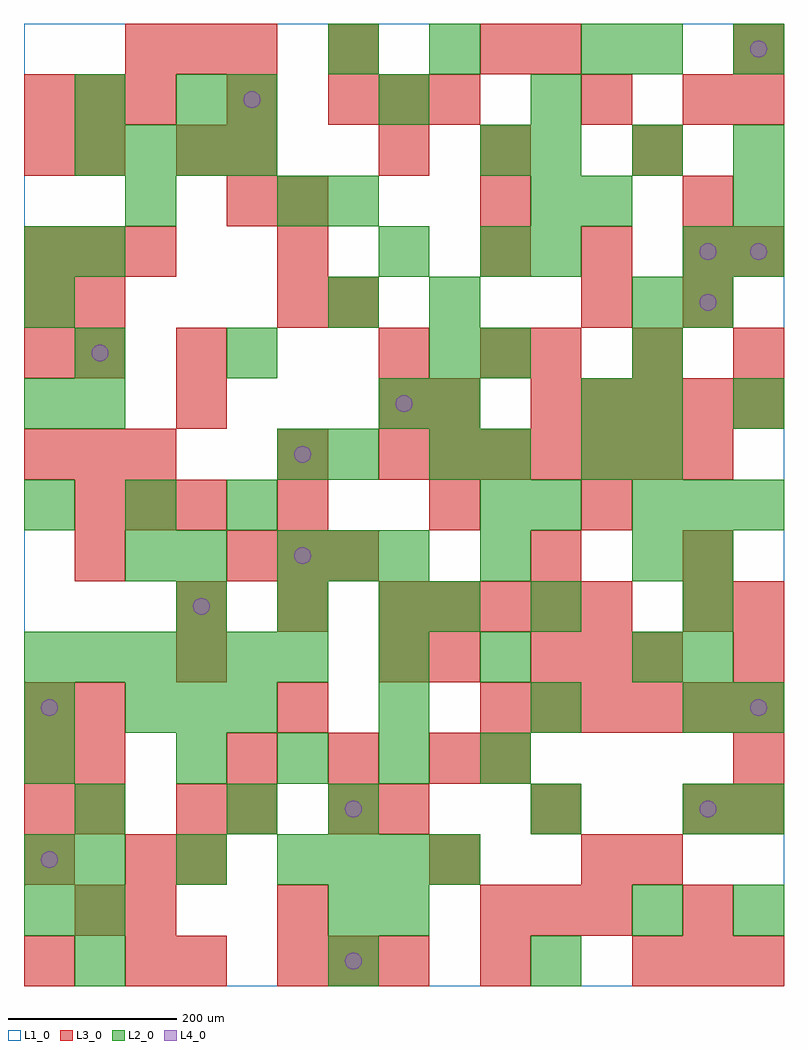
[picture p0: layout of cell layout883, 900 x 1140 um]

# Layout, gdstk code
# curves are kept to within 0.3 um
import gdstk
lib = gdstk.Library(unit=1e-6, precision=1e-09)
def R(c, l, rs):  # rectangles x0, y0, x1, y1
    for r in rs: c.add(gdstk.rectangle(r[:2], r[2:], *l))
def A(c, l, x, y, w, h, nx, ny, dx, dy):  # array of equal rectangles
    R(c, l, [(x+i*dx, y+j*dy, x+i*dx+w, y+j*dy+h) for i in range(nx) for j in range(ny)])
def P(c, l, *ps):  # polygons
    for p in ps: c.add(gdstk.Polygon(p, *l))
L1_0 = (1, 0)
L2_0 = (2, 0)
L3_0 = (3, 0)
L4_0 = (4, 0)

layout883 = lib.new_cell('layout883')
R(layout883, L1_0, [(0,0,900,1140)])
A(layout883, L2_0, 420, 60, 60, 60, 1, 3, 0, 300)
A(layout883, L2_0, 840, 60, 60, 60, 1, 3, 0, 120)
A(layout883, L2_0, 60, 120, 60, 60, 3, 1, 120, 0)
A(layout883, L2_0, 360, 120, 60, 60, 3, 1, 60, 0)
A(layout883, L2_0, 180, 240, 60, 60, 4, 1, 120, 0)
A(layout883, L2_0, 120, 300, 60, 60, 3, 1, 60, 0)
A(layout883, L2_0, 420, 300, 60, 60, 3, 1, 180, 0)
A(layout883, L2_0, 0, 360, 60, 60, 6, 1, 60, 0)
A(layout883, L2_0, 720, 360, 60, 60, 1, 3, 0, 120)
A(layout883, L2_0, 780, 360, 60, 60, 1, 3, 0, 60)
A(layout883, L2_0, 180, 420, 60, 60, 3, 1, 120, 0)
A(layout883, L2_0, 300, 480, 60, 60, 3, 1, 60, 0)
A(layout883, L2_0, 540, 480, 60, 60, 1, 3, 0, 60)
A(layout883, L2_0, 0, 540, 60, 60, 3, 1, 120, 0)
A(layout883, L2_0, 720, 540, 60, 60, 3, 1, 60, 0)
A(layout883, L2_0, 480, 600, 60, 60, 1, 4, 0, 60)
A(layout883, L2_0, 720, 660, 60, 60, 1, 3, 0, 60)
A(layout883, L2_0, 540, 720, 60, 60, 1, 3, 0, 120)
A(layout883, L2_0, 60, 960, 60, 60, 4, 1, 60, 0)
A(layout883, L2_0, 600, 960, 60, 60, 3, 1, 120, 0)
A(layout883, L2_0, 240, 1020, 60, 60, 3, 1, 180, 0)
R(layout883, L2_0, [(60,0,120,60), (360,0,420,60), (600,0,660,60), (0,60,60,120), (60,60,120,120), (360,60,420,120), (720,60,780,120), (0,120,60,180), (60,180,120,240), (240,180,300,240), (360,180,420,240), (600,180,660,240), (780,180,840,240), (0,240,60,300), (0,300,60,360), (540,360,600,420), (480,420,540,480), (600,420,660,480), (120,480,180,540), (180,480,240,540), (600,540,660,600), (300,600,360,660), (360,600,420,660), (660,600,720,660), (0,660,60,720), (60,660,120,720), (660,660,720,720), (840,660,900,720), (60,720,120,780), (240,720,300,780), (0,780,60,840), (360,780,420,840), (780,780,840,840), (0,840,60,900), (60,840,120,900), (420,840,480,900), (600,840,660,900), (780,840,840,900), (840,840,900,900), (120,900,180,960), (300,900,360,960), (360,900,420,960), (600,900,660,960), (660,900,720,960), (840,900,900,960), (60,1020,120,1080), (180,1020,240,1080), (360,1080,420,1140), (480,1080,540,1140), (660,1080,720,1140), (720,1080,780,1140), (840,1080,900,1140)])
A(layout883, L3_0, 120, 0, 60, 60, 1, 3, 0, 60)
A(layout883, L3_0, 300, 0, 60, 60, 3, 1, 60, 0)
A(layout883, L3_0, 720, 0, 60, 60, 3, 1, 60, 0)
A(layout883, L3_0, 540, 60, 60, 60, 3, 1, 60, 0)
A(layout883, L3_0, 0, 120, 60, 60, 1, 4, 0, 60)
A(layout883, L3_0, 420, 180, 60, 60, 3, 1, 180, 0)
A(layout883, L3_0, 60, 240, 60, 60, 1, 3, 0, 240)
A(layout883, L3_0, 240, 240, 60, 60, 3, 1, 120, 0)
A(layout883, L3_0, 60, 300, 60, 60, 3, 1, 240, 0)
A(layout883, L3_0, 600, 300, 60, 60, 5, 2, 60, 360)
A(layout883, L3_0, 600, 360, 60, 60, 3, 1, 60, 0)
A(layout883, L3_0, 180, 420, 60, 60, 3, 1, 120, 0)
A(layout883, L3_0, 480, 420, 60, 60, 4, 1, 60, 0)
A(layout883, L3_0, 240, 480, 60, 60, 3, 1, 60, 0)
A(layout883, L3_0, 60, 540, 60, 60, 3, 1, 60, 0)
A(layout883, L3_0, 300, 540, 60, 60, 3, 1, 180, 0)
A(layout883, L3_0, 0, 600, 60, 60, 3, 2, 60, 240)
A(layout883, L3_0, 420, 600, 60, 60, 7, 1, 60, 0)
A(layout883, L3_0, 600, 720, 60, 60, 3, 1, 120, 0)
A(layout883, L3_0, 540, 840, 60, 60, 3, 1, 120, 0)
A(layout883, L3_0, 240, 900, 60, 60, 1, 3, 0, 60)
A(layout883, L3_0, 300, 900, 60, 60, 3, 1, 240, 0)
A(layout883, L3_0, 0, 1020, 60, 60, 3, 1, 60, 0)
A(layout883, L3_0, 360, 1020, 60, 60, 3, 1, 60, 0)
A(layout883, L3_0, 120, 1080, 60, 60, 3, 1, 60, 0)
R(layout883, L3_0, [(0,0,60,60), (180,0,240,60), (540,0,600,60), (60,60,120,120), (300,60,360,120), (780,60,840,120), (180,120,240,180), (480,120,540,180), (660,120,720,180), (720,120,780,180), (60,180,120,240), (180,180,240,240), (240,180,300,240), (360,180,420,240), (840,180,900,240), (540,240,600,300), (840,240,900,300), (180,360,240,420), (420,360,480,420), (480,360,540,420), (840,360,900,420), (780,420,840,480), (840,420,900,480), (600,480,660,540), (780,480,840,540), (300,600,360,660), (180,660,240,720), (420,660,480,720), (480,660,540,720), (0,720,60,780), (180,720,240,780), (420,720,480,780), (540,720,600,780), (0,780,60,840), (60,780,120,840), (300,780,360,840), (360,780,420,840), (660,780,720,840), (780,780,840,840), (300,840,360,900), (840,840,900,900), (0,960,60,1020), (60,960,120,1020), (180,960,240,1020), (420,960,480,1020), (540,960,600,1020), (720,960,780,1020), (660,1020,720,1080), (780,1020,840,1080), (840,1020,900,1080), (360,1080,420,1140), (540,1080,600,1140), (600,1080,660,1140), (840,1080,900,1140)])
P(layout883, L4_0, [(40,150),(39.239,153.827),(37.071,157.071),(33.827,159.239),(30,160),(26.173,159.239),(22.929,157.071),(20.761,153.827),(20,150),(20.761,146.173),(22.929,142.929),(26.173,140.761),(30,140),(33.827,140.761),(37.071,142.929),(39.239,146.173)],
  [(40,330),(39.239,333.827),(37.071,337.071),(33.827,339.239),(30,340),(26.173,339.239),(22.929,337.071),(20.761,333.827),(20,330),(20.761,326.173),(22.929,322.929),(26.173,320.761),(30,320),(33.827,320.761),(37.071,322.929),(39.239,326.173)],
  [(100,750),(99.239,753.827),(97.071,757.071),(93.827,759.239),(90,760),(86.173,759.239),(82.929,757.071),(80.761,753.827),(80,750),(80.761,746.173),(82.929,742.929),(86.173,740.761),(90,740),(93.827,740.761),(97.071,742.929),(99.239,746.173)],
  [(220,450),(219.239,453.827),(217.071,457.071),(213.827,459.239),(210,460),(206.173,459.239),(202.929,457.071),(200.761,453.827),(200,450),(200.761,446.173),(202.929,442.929),(206.173,440.761),(210,440),(213.827,440.761),(217.071,442.929),(219.239,446.173)],
  [(280,1050),(279.239,1053.827),(277.071,1057.071),(273.827,1059.239),(270,1060),(266.173,1059.239),(262.929,1057.071),(260.761,1053.827),(260,1050),(260.761,1046.173),(262.929,1042.929),(266.173,1040.761),(270,1040),(273.827,1040.761),(277.071,1042.929),(279.239,1046.173)],
  [(340,510),(339.239,513.827),(337.071,517.071),(333.827,519.239),(330,520),(326.173,519.239),(322.929,517.071),(320.761,513.827),(320,510),(320.761,506.173),(322.929,502.929),(326.173,500.761),(330,500),(333.827,500.761),(337.071,502.929),(339.239,506.173)],
  [(340,630),(339.239,633.827),(337.071,637.071),(333.827,639.239),(330,640),(326.173,639.239),(322.929,637.071),(320.761,633.827),(320,630),(320.761,626.173),(322.929,622.929),(326.173,620.761),(330,620),(333.827,620.761),(337.071,622.929),(339.239,626.173)],
  [(400,30),(399.239,33.827),(397.071,37.071),(393.827,39.239),(390,40),(386.173,39.239),(382.929,37.071),(380.761,33.827),(380,30),(380.761,26.173),(382.929,22.929),(386.173,20.761),(390,20),(393.827,20.761),(397.071,22.929),(399.239,26.173)],
  [(400,210),(399.239,213.827),(397.071,217.071),(393.827,219.239),(390,220),(386.173,219.239),(382.929,217.071),(380.761,213.827),(380,210),(380.761,206.173),(382.929,202.929),(386.173,200.761),(390,200),(393.827,200.761),(397.071,202.929),(399.239,206.173)],
  [(460,690),(459.239,693.827),(457.071,697.071),(453.827,699.239),(450,700),(446.173,699.239),(442.929,697.071),(440.761,693.827),(440,690),(440.761,686.173),(442.929,682.929),(446.173,680.761),(450,680),(453.827,680.761),(457.071,682.929),(459.239,686.173)],
  [(820,210),(819.239,213.827),(817.071,217.071),(813.827,219.239),(810,220),(806.173,219.239),(802.929,217.071),(800.761,213.827),(800,210),(800.761,206.173),(802.929,202.929),(806.173,200.761),(810,200),(813.827,200.761),(817.071,202.929),(819.239,206.173)],
  [(820,810),(819.239,813.827),(817.071,817.071),(813.827,819.239),(810,820),(806.173,819.239),(802.929,817.071),(800.761,813.827),(800,810),(800.761,806.173),(802.929,802.929),(806.173,800.761),(810,800),(813.827,800.761),(817.071,802.929),(819.239,806.173)],
  [(820,870),(819.239,873.827),(817.071,877.071),(813.827,879.239),(810,880),(806.173,879.239),(802.929,877.071),(800.761,873.827),(800,870),(800.761,866.173),(802.929,862.929),(806.173,860.761),(810,860),(813.827,860.761),(817.071,862.929),(819.239,866.173)],
  [(880,330),(879.239,333.827),(877.071,337.071),(873.827,339.239),(870,340),(866.173,339.239),(862.929,337.071),(860.761,333.827),(860,330),(860.761,326.173),(862.929,322.929),(866.173,320.761),(870,320),(873.827,320.761),(877.071,322.929),(879.239,326.173)],
  [(880,870),(879.239,873.827),(877.071,877.071),(873.827,879.239),(870,880),(866.173,879.239),(862.929,877.071),(860.761,873.827),(860,870),(860.761,866.173),(862.929,862.929),(866.173,860.761),(870,860),(873.827,860.761),(877.071,862.929),(879.239,866.173)],
  [(880,1110),(879.239,1113.827),(877.071,1117.071),(873.827,1119.239),(870,1120),(866.173,1119.239),(862.929,1117.071),(860.761,1113.827),(860,1110),(860.761,1106.173),(862.929,1102.929),(866.173,1100.761),(870,1100),(873.827,1100.761),(877.071,1102.929),(879.239,1106.173)])

lib.write_gds('layout883.gds')
